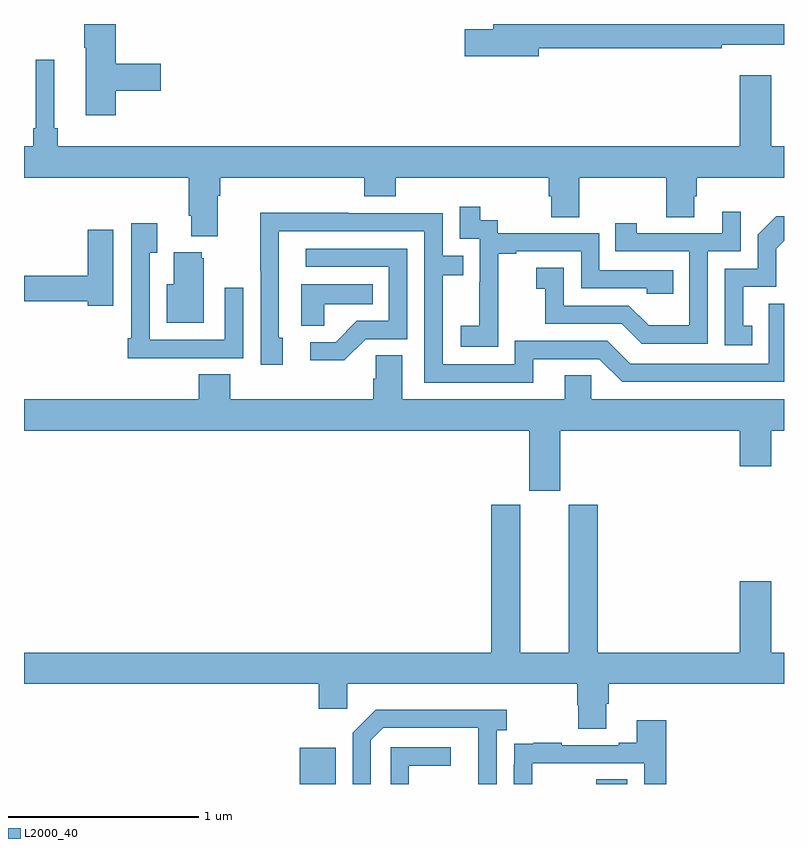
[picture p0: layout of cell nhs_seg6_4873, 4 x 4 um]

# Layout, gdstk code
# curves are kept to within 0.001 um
import gdstk
lib = gdstk.Library(unit=1e-6, precision=1e-09)
def R(c, l, rs):  # rectangles x0, y0, x1, y1
    for r in rs: c.add(gdstk.rectangle(r[:2], r[2:], *l))
def P(c, l, *ps):  # polygons
    for p in ps: c.add(gdstk.Polygon(p, *l))
L2000_40 = (2000, 40)

nhs_seg6_4873 = lib.new_cell('nhs_seg6_4873')
R(nhs_seg6_4873, L2000_40, [(402.452,921.5,402.64,921.691), (404.012,921.5,404.176,921.524)])
P(nhs_seg6_4873, L2000_40, [(403.708,925.372),(404.672,925.372),(404.672,925.391),(405,925.391),(405,925.5),(403.469,925.5),(403.469,925.472),(403.32,925.472),(403.32,925.33),(403.708,925.33)],
  [(401.483,925.15),(401.719,925.15),(401.719,925.292),(401.483,925.292),(401.483,925.5),(401.317,925.5),(401.317,925.375),(401.324,925.375),(401.324,925.02),(401.483,925.02)],
  [(402.019,924.596),(402.032,924.596),(402.032,924.692),(402.791,924.692),(402.791,924.593),(402.956,924.593),(402.956,924.692),(403.763,924.692),(403.763,924.594),(403.775,924.594),(403.775,924.484),(403.923,924.484),(403.923,924.692),(404.38,924.692),(404.38,924.484),(404.527,924.484),(404.527,924.594),(404.54,924.594),(404.54,924.692),(405,924.692),(405,924.856),(404.932,924.856),(404.932,925.231),(404.768,925.231),(404.768,924.856),(401.177,924.856),(401.177,924.952),(401.158,924.952),(401.158,925.312),(401.061,925.312),(401.061,924.952),(401.048,924.952),(401.048,924.856),(401,924.856),(401,924.692),(401.867,924.692),(401.867,924.49),(401.879,924.49),(401.879,924.383),(402.019,924.383)],
  [(403.497,924.007),(403.496,924.007),(403.496,924.291),(403.591,924.291),(403.591,924.303),(403.932,924.303),(403.932,924.108),(404.277,924.108),(404.277,924.081),(404.417,924.081),(404.417,924.204),(404.028,924.204),(404.028,924.399),(403.494,924.399),(403.494,924.468),(403.402,924.468),(403.402,924.538),(403.293,924.538),(403.293,924.369),(403.398,924.369),(403.398,924.14),(403.397,924.14),(403.397,923.911),(403.299,923.911),(403.299,923.801),(403.497,923.801)],
  [(404.598,924.303),(404.772,924.303),(404.772,924.511),(404.675,924.511),(404.675,924.399),(404.224,924.399),(404.224,924.451),(404.113,924.451),(404.113,924.303),(404.502,924.303),(404.502,923.914),(404.288,923.914),(404.184,924.018),(403.842,924.018),(403.842,924.217),(403.695,924.217),(403.695,924.107),(403.744,924.107),(403.744,923.922),(404.147,923.922),(404.252,923.817),(404.598,923.817)],
  [(403.681,923.736),(404.028,923.736),(404.148,923.616),(405,923.616),(405,924.027),(404.919,924.027),(404.919,923.712),(404.19,923.712),(404.07,923.832),(403.584,923.832),(403.584,923.709),(403.203,923.709),(403.203,924.178),(403.313,924.178),(403.313,924.279),(403.203,924.279),(403.203,924.504),(402.707,924.504),(402.707,924.506),(402.244,924.506),(402.244,924.199),(402.246,924.199),(402.246,923.706),(402.361,923.706),(402.361,923.85),(402.342,923.85),(402.342,924.408),(403.107,924.408),(403.107,923.613),(403.681,923.613)],
  [(404.834,923.913),(404.785,923.913),(404.785,924.117),(404.958,924.117),(404.958,924.318),(405,924.36),(405,924.488),(404.96,924.488),(404.862,924.39),(404.862,924.213),(404.688,924.213),(404.688,923.808),(404.834,923.808)],
  [(401.837,923.742),(402.153,923.742),(402.153,924.112),(402.057,924.112),(402.057,923.838),(401.661,923.838),(401.661,924.295),(401.701,924.295),(401.701,924.451),(401.565,924.451),(401.565,923.845),(401.545,923.845),(401.545,923.741),(401.837,923.741)],
  [(401.47,924.418),(401.336,924.418),(401.336,924.176),(401,924.176),(401,924.04),(401.336,924.04),(401.336,924.017),(401.47,924.017)],
  [(402.798,923.841),(403.017,923.841),(403.017,924.318),(402.483,924.318),(402.483,924.222),(402.921,924.222),(402.921,923.937),(402.752,923.937),(402.641,923.826),(402.507,923.826),(402.507,923.729),(402.685,923.729)],
  [(401.947,924.267),(401.936,924.267),(401.936,924.298),(401.789,924.298),(401.789,924.13),(401.75,924.13),(401.75,923.927),(401.947,923.927)],
  [(402.579,924.026),(402.836,924.026),(402.836,924.13),(402.458,924.13),(402.458,923.911),(402.579,923.911)],
  [(401.921,923.657),(401.921,923.524),(401,923.524),(401,923.36),(403.658,923.36),(403.658,923.043),(403.822,923.043),(403.822,923.36),(404.768,923.36),(404.768,923.172),(404.932,923.172),(404.932,923.36),(405,923.36),(405,923.524),(403.986,923.524),(403.986,923.651),(403.847,923.651),(403.847,923.524),(402.991,923.524),(402.991,923.756),(402.852,923.756),(402.852,923.633),(402.839,923.633),(402.839,923.524),(402.086,923.524),(402.086,923.657)],
  [(404.065,921.922),(404.078,921.922),(404.078,922.028),(405,922.028),(405,922.192),(404.932,922.192),(404.932,922.567),(404.768,922.567),(404.768,922.192),(404.021,922.192),(404.021,922.971),(403.868,922.971),(403.868,922.192),(403.612,922.192),(403.612,922.971),(403.46,922.971),(403.46,922.192),(401,922.192),(401,922.028),(402.551,922.028),(402.551,921.897),(402.702,921.897),(402.702,922.028),(403.913,922.028),(403.913,921.915),(403.918,921.915),(403.918,921.79),(404.065,921.79)],
  [(402.825,921.729),(402.891,921.795),(403.391,921.795),(403.392,921.5),(403.488,921.5),(403.488,921.782),(403.54,921.782),(403.54,921.892),(402.85,921.892),(402.729,921.771),(402.729,921.5),(402.825,921.5)],
  [(403.674,921.609),(404.265,921.609),(404.265,921.5),(404.381,921.5),(404.381,921.835),(404.225,921.835),(404.225,921.718),(404.129,921.718),(404.129,921.705),(403.829,921.705),(403.829,921.718),(403.681,921.718),(403.681,921.711),(403.579,921.711),(403.579,921.602),(403.578,921.602),(403.578,921.5),(403.674,921.5)],
  [(403.026,921.597),(403.246,921.597),(403.246,921.693),(402.93,921.693),(402.93,921.5),(403.026,921.5)])

lib.write_gds('nhs_seg6_4873.gds')
